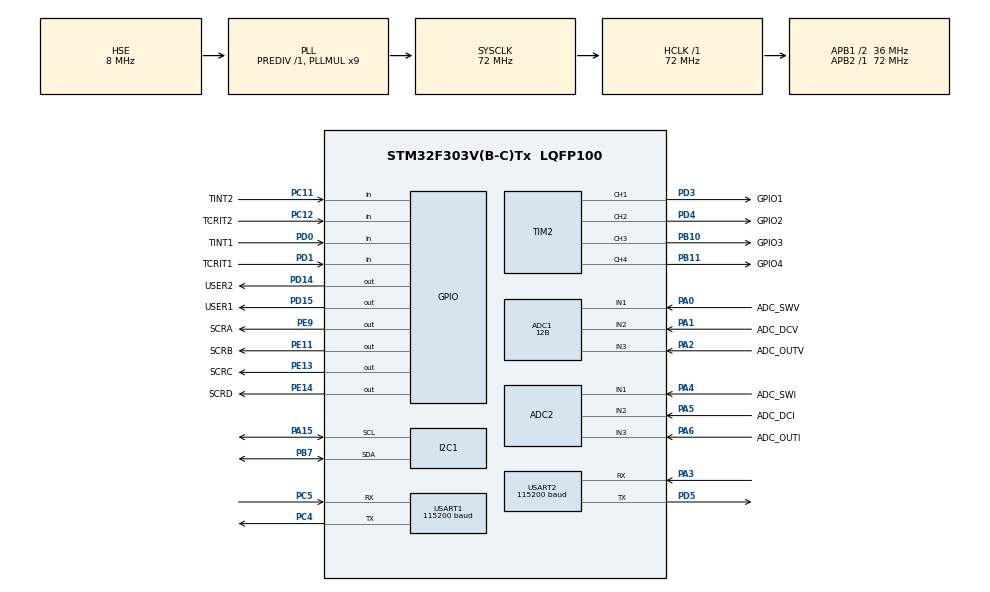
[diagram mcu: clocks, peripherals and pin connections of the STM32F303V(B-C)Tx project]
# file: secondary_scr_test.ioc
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ADC1.Channel-0\#ChannelRegularConversion=ADC_CHANNEL_1
ADC1.Channel-1\#ChannelRegularConversion=ADC_CHANNEL_2
ADC1.Channel-3\#ChannelRegularConversion=ADC_CHANNEL_3
ADC1.ClockPrescaler=ADC_CLOCK_ASYNC_DIV1
ADC1.ContinuousConvMode=DISABLE
ADC1.DMAContinuousRequests=ENABLE
ADC1.DataAlign=ADC_DATAALIGN_RIGHT
ADC1.DiscontinuousConvMode=DISABLE
ADC1.EOCSelection=ADC_EOC_SINGLE_CONV
ADC1.EnableAnalogWatchDog1=false
ADC1.EnableAnalogWatchDog2=false
ADC1.EnableAnalogWatchDog3=false
ADC1.EnableInjectedConversion=ENABLE
ADC1.EnableRegularConversion=ENABLE
ADC1.ExternalTrigConv=ADC_EXTERNALTRIGCONV_T3_TRGO
ADC1.ExternalTrigConvEdge=ADC_EXTERNALTRIGCONVEDGE_RISING
ADC1.LowPowerAutoWait=DISABLE
ADC1.Mode=ADC_MODE_INDEPENDENT
ADC1.NbrOfConversion=3
ADC1.NbrOfConversionFlag=1
ADC1.Offset-0\#ChannelRegularConversion=0
ADC1.Offset-1\#ChannelRegularConversion=0
ADC1.Offset-3\#ChannelRegularConversion=0
ADC1.OffsetNumber-0\#ChannelRegularConversion=ADC_OFFSET_NONE
ADC1.OffsetNumber-1\#ChannelRegularConversion=ADC_OFFSET_NONE
ADC1.OffsetNumber-3\#ChannelRegularConversion=ADC_OFFSET_NONE
ADC1.Overrun=ADC_OVR_DATA_OVERWRITTEN
ADC1.Rank-0\#ChannelRegularConversion=1
ADC1.Rank-1\#ChannelRegularConversion=2
ADC1.Rank-3\#ChannelRegularConversion=3
ADC1.Resolution=ADC_RESOLUTION_12B
ADC1.SamplingTime-0\#ChannelRegularConversion=ADC_SAMPLETIME_1CYCLE_5
ADC1.SamplingTime-1\#ChannelRegularConversion=ADC_SAMPLETIME_1CYCLE_5
ADC1.SamplingTime-3\#ChannelRegularConversion=ADC_SAMPLETIME_1CYCLE_5
ADC1.ScanConvMode=ADC_SCAN_ENABLE
ADC1.master=1
ADC2.Channel-0\#ChannelRegularConversion=ADC_CHANNEL_1
ADC2.Channel-1\#ChannelRegularConversion=ADC_CHANNEL_2
ADC2.Channel-2\#ChannelRegularConversion=ADC_CHANNEL_3
ADC2.DMAContinuousRequests=ENABLE
ADC2.EOCSelection=ADC_EOC_SINGLE_CONV
ADC2.EnableInjectedConversion=ENABLE
ADC2.ExternalTrigConv=ADC_EXTERNALTRIGCONV_T3_TRGO
ADC2.NbrOfConversion=3
ADC2.NbrOfConversionFlag=1
ADC2.Offset-0\#ChannelRegularConversion=0
ADC2.Offset-1\#ChannelRegularConversion=0
ADC2.Offset-2\#ChannelRegularConversion=0
ADC2.OffsetNumber-0\#ChannelRegularConversion=ADC_OFFSET_NONE
ADC2.OffsetNumber-1\#ChannelRegularConversion=ADC_OFFSET_NONE
ADC2.OffsetNumber-2\#ChannelRegularConversion=ADC_OFFSET_NONE
ADC2.Rank-0\#ChannelRegularConversion=1
ADC2.Rank-1\#ChannelRegularConversion=2
ADC2.Rank-2\#ChannelRegularConversion=3
ADC2.SamplingTime-0\#ChannelRegularConversion=ADC_SAMPLETIME_1CYCLE_5
ADC2.SamplingTime-1\#ChannelRegularConversion=ADC_SAMPLETIME_1CYCLE_5
ADC2.SamplingTime-2\#ChannelRegularConversion=ADC_SAMPLETIME_1CYCLE_5
Dma.ADC1.5.Direction=DMA_PERIPH_TO_MEMORY
Dma.ADC1.5.Instance=DMA1_Channel1
Dma.ADC1.5.MemDataAlignment=DMA_MDATAALIGN_WORD
Dma.ADC1.5.MemInc=DMA_MINC_ENABLE
Dma.ADC1.5.Mode=DMA_CIRCULAR
Dma.ADC1.5.PeriphDataAlignment=DMA_PDATAALIGN_WORD
Dma.ADC1.5.PeriphInc=DMA_PINC_DISABLE
Dma.ADC1.5.Priority=DMA_PRIORITY_HIGH
Dma.ADC2.0.Direction=DMA_PERIPH_TO_MEMORY
Dma.ADC2.0.Instance=DMA2_Channel1
Dma.ADC2.0.MemDataAlignment=DMA_MDATAALIGN_WORD
Dma.ADC2.0.MemInc=DMA_MINC_ENABLE
Dma.ADC2.0.Mode=DMA_CIRCULAR
Dma.ADC2.0.PeriphDataAlignment=DMA_PDATAALIGN_WORD
Dma.ADC2.0.PeriphInc=DMA_PINC_DISABLE
Dma.ADC2.0.Priority=DMA_PRIORITY_HIGH
Dma.Request0=ADC2
Dma.Request1=USART1_TX
Dma.Request2=USART1_RX
Dma.Request3=USART2_RX
Dma.Request4=USART2_TX
Dma.Request5=ADC1
Dma.USART1_RX.2.Direction=DMA_PERIPH_TO_MEMORY
Dma.USART1_RX.2.Instance=DMA1_Channel5
Dma.USART1_RX.2.MemDataAlignment=DMA_MDATAALIGN_BYTE
Dma.USART1_RX.2.MemInc=DMA_MINC_ENABLE
Dma.USART1_RX.2.Mode=DMA_CIRCULAR
Dma.USART1_RX.2.PeriphDataAlignment=DMA_PDATAALIGN_BYTE
Dma.USART1_RX.2.PeriphInc=DMA_PINC_DISABLE
Dma.USART1_RX.2.Priority=DMA_PRIORITY_LOW
Dma.USART1_TX.1.Direction=DMA_MEMORY_TO_PERIPH
Dma.USART1_TX.1.Instance=DMA1_Channel4
Dma.USART1_TX.1.MemDataAlignment=DMA_MDATAALIGN_BYTE
Dma.USART1_TX.1.MemInc=DMA_MINC_ENABLE
Dma.USART1_TX.1.Mode=DMA_NORMAL
Dma.USART1_TX.1.PeriphDataAlignment=DMA_PDATAALIGN_BYTE
Dma.USART1_TX.1.PeriphInc=DMA_PINC_DISABLE
Dma.USART1_TX.1.Priority=DMA_PRIORITY_LOW
Dma.USART2_RX.3.Direction=DMA_PERIPH_TO_MEMORY
Dma.USART2_RX.3.Instance=DMA1_Channel6
Dma.USART2_RX.3.MemDataAlignment=DMA_MDATAALIGN_BYTE
Dma.USART2_RX.3.MemInc=DMA_MINC_ENABLE
Dma.USART2_RX.3.Mode=DMA_CIRCULAR
Dma.USART2_RX.3.PeriphDataAlignment=DMA_PDATAALIGN_BYTE
Dma.USART2_RX.3.PeriphInc=DMA_PINC_DISABLE
Dma.USART2_RX.3.Priority=DMA_PRIORITY_LOW
Dma.USART2_TX.4.Direction=DMA_MEMORY_TO_PERIPH
Dma.USART2_TX.4.Instance=DMA1_Channel7
Dma.USART2_TX.4.MemDataAlignment=DMA_MDATAALIGN_BYTE
Dma.USART2_TX.4.MemInc=DMA_MINC_ENABLE
Dma.USART2_TX.4.Mode=DMA_NORMAL
Dma.USART2_TX.4.PeriphDataAlignment=DMA_PDATAALIGN_BYTE
Dma.USART2_TX.4.PeriphInc=DMA_PINC_DISABLE
Dma.USART2_TX.4.Priority=DMA_PRIORITY_LOW
I2C1.Timeout=0x00008061
I2C1.Timing=0x2000090E
Mcu.Family=STM32F3
Mcu.Name=STM32F303V(B-C)Tx
Mcu.Package=LQFP100
NVIC.DMA1_Channel1_IRQn=true\:0\:0\:false\:false\:true\:true
NVIC.DMA1_Channel4_IRQn=true\:0\:0\:false\:false\:true\:true
NVIC.DMA1_Channel5_IRQn=true\:0\:0\:false\:false\:true\:true
NVIC.DMA1_Channel6_IRQn=true\:0\:0\:false\:false\:true\:true
NVIC.DMA1_Channel7_IRQn=true\:0\:0\:false\:false\:true\:true
NVIC.DMA2_Channel1_IRQn=true\:0\:0\:false\:false\:true\:true
NVIC.PriorityGroup=NVIC_PRIORITYGROUP_4
NVIC.USART2_IRQn=true\:0\:0\:false\:false\:true\:true
PA0.GPIO_Label=ADC_SWV
PA0.Mode=IN1-Single-Ended
PA0.Signal=ADC1_IN1
PA1.GPIO_Label=ADC_DCV
PA1.Mode=IN2-Single-Ended
PA1.Signal=ADC1_IN2
PA13.Mode=Serial_Wire
PA13.Signal=SYS_JTMS-SWDIO
PA14.Mode=Serial_Wire
PA14.Signal=SYS_JTCK-SWCLK
PA15.Mode=SMBus-two-wire-Interface
PA15.Signal=I2C1_SCL
PA2.GPIO_Label=ADC_OUTV
PA2.Mode=IN3-Single-Ended
PA2.Signal=ADC1_IN3
PA3.Mode=Asynchronous
PA3.Signal=USART2_RX
PA4.GPIO_Label=ADC_SWI
PA4.Mode=IN1-Single-Ended
PA4.Signal=ADC2_IN1
PA5.GPIO_Label=ADC_DCI
PA5.Mode=IN2-Single-Ended
PA5.Signal=ADC2_IN2
PA6.GPIO_Label=ADC_OUTI
PA6.Mode=IN3-Single-Ended
PA6.Signal=ADC2_IN3
PB10.GPIO_Label=GPIO3
PB10.Signal=S_TIM2_CH3
PB11.GPIO_Label=GPIO4
PB11.Signal=S_TIM2_CH4
PB7.Mode=SMBus-two-wire-Interface
PB7.Signal=I2C1_SDA
PC11.GPIO_Label=TINT2
PC11.Signal=GPIO_Input
PC12.GPIO_Label=TCRIT2
PC12.Signal=GPIO_Input
PC4.Mode=Asynchronous
PC4.Signal=USART1_TX
PC5.Mode=Asynchronous
PC5.Signal=USART1_RX
PD0.GPIO_Label=TINT1
PD0.Signal=GPIO_Input
PD1.GPIO_Label=TCRIT1
PD1.Signal=GPIO_Input
PD14.GPIO_Label=USER2
PD14.Signal=GPIO_Output
PD15.GPIO_Label=USER1
PD15.Signal=GPIO_Output
PD3.GPIO_Label=GPIO1
PD3.Signal=S_TIM2_CH1_ETR
PD4.GPIO_Label=GPIO2
PD4.Signal=S_TIM2_CH2
PD5.Mode=Asynchronous
PD5.Signal=USART2_TX
PE11.GPIO_Label=SCRB
PE11.Signal=GPIO_Output
PE13.GPIO_Label=SCRC
PE13.Signal=GPIO_Output
PE14.GPIO_Label=SCRD
PE14.Signal=GPIO_Output
PE9.GPIO_Label=SCRA
PE9.Signal=GPIO_Output
PF0-OSC_IN.Mode=HSE-External-Oscillator
PF0-OSC_IN.Signal=RCC_OSC_IN
PF1-OSC_OUT.Mode=HSE-External-Oscillator
PF1-OSC_OUT.Signal=RCC_OSC_OUT
ProjectManager.HeapSize=0x200
ProjectManager.StackSize=0x400
ProjectManager.TargetToolchain=EWARM
RCC.AHBFreq_Value=72000000
RCC.APB1CLKDivider=RCC_HCLK_DIV2
RCC.APB1Freq_Value=36000000
RCC.APB1TimFreq_Value=72000000
RCC.APB2Freq_Value=72000000
RCC.APB2TimFreq_Value=72000000
RCC.CortexFreq_Value=72000000
RCC.HCLKFreq_Value=72000000
RCC.HSE_VALUE=8000000
RCC.HSI_VALUE=8000000
RCC.LSE_VALUE=32768
RCC.PLLMUL=RCC_PLL_MUL9
RCC.PLLSourceVirtual=RCC_PLLSOURCE_HSE
RCC.SYSCLKFreq_VALUE=72000000
RCC.SYSCLKSourceVirtual=RCC_SYSCLKSOURCE_PLLCLK
RCC.USBFreq_Value=72000000
SH.S_TIM2_CH1_ETR.0=TIM2_CH1,PWM Generation1 CH1
SH.S_TIM2_CH2.0=TIM2_CH2,PWM Generation2 CH2
SH.S_TIM2_CH3.0=TIM2_CH3,PWM Generation3 CH3
SH.S_TIM2_CH4.0=TIM2_CH4,PWM Generation4 CH4
TIM2.Channel-PWM\ Generation1\ CH1=TIM_CHANNEL_1
TIM2.Channel-PWM\ Generation2\ CH2=TIM_CHANNEL_2
TIM2.Channel-PWM\ Generation3\ CH3=TIM_CHANNEL_3
TIM2.Channel-PWM\ Generation4\ CH4=TIM_CHANNEL_4
TIM3.Period=7199
TIM3.TIM_MasterOutputTrigger=TIM_TRGO_UPDATE
USART1.BaudRate=115200
USART1.VirtualMode-Asynchronous=VM_ASYNC
USART2.BaudRate=115200
USART2.VirtualMode-Asynchronous=VM_ASYNC
VP_TIM3_VS_ClockSourceINT.Mode=Internal
board=secondary_scr_test

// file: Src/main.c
/**
  ******************************************************************************
  * File Name          : main.c
  * Description        : Main program body
  ******************************************************************************
  *
  * COPYRIGHT(c) 2017 STMicroelectronics
  *
  * Redistribution and use in source and binary forms, with or without modification,
  * are permitted provided that the following conditions are met:
  *   1. Redistributions of source code must retain the above copyright notice,
  *      this list of conditions and the following disclaimer.
  *   2. Redistributions in binary form must reproduce the above copyright notice,
  *      this list of conditions and the following disclaimer in the documentation
  *      and/or other materials provided with the distribution.
  *   3. Neither the name of STMicroelectronics nor the names of its contributors
  *      may be used to endorse or promote products derived from this software
  *      without specific prior written permission.
  *
  * THIS SOFTWARE IS PROVIDED BY THE COPYRIGHT HOLDERS AND CONTRIBUTORS "AS IS"
  * AND ANY EXPRESS OR IMPLIED WARRANTIES, INCLUDING, BUT NOT LIMITED TO, THE
  * IMPLIED WARRANTIES OF MERCHANTABILITY AND FITNESS FOR A PARTICULAR PURPOSE ARE
  * DISCLAIMED. IN NO EVENT SHALL THE COPYRIGHT HOLDER OR CONTRIBUTORS BE LIABLE
  * FOR ANY DIRECT, INDIRECT, INCIDENTAL, SPECIAL, EXEMPLARY, OR CONSEQUENTIAL
  * DAMAGES (INCLUDING, BUT NOT LIMITED TO, PROCUREMENT OF SUBSTITUTE GOODS OR
  * SERVICES; LOSS OF USE, DATA, OR PROFITS; OR BUSINESS INTERRUPTION) HOWEVER
  * CAUSED AND ON ANY THEORY OF LIABILITY, WHETHER IN CONTRACT, STRICT LIABILITY,
  * OR TORT (INCLUDING NEGLIGENCE OR OTHERWISE) ARISING IN ANY WAY OUT OF THE USE
  * OF THIS SOFTWARE, EVEN IF ADVISED OF THE POSSIBILITY OF SUCH DAMAGE.
  *
  ******************************************************************************
  */
#include "main.h"
#include "stm32f3xx_hal.h"

/* USER CODE BEGIN Includes */
#include <stdbool.h>
#include <string.h>
/* USER CODE END Includes */

ADC_HandleTypeDef hadc1;
ADC_HandleTypeDef hadc2;
DMA_HandleTypeDef hdma_adc1;
DMA_HandleTypeDef hdma_adc2;

SMBUS_HandleTypeDef hsmbus1;

TIM_HandleTypeDef htim2;
TIM_HandleTypeDef htim3;

UART_HandleTypeDef huart1;
UART_HandleTypeDef huart2;
DMA_HandleTypeDef hdma_usart1_tx;
DMA_HandleTypeDef hdma_usart1_rx;
DMA_HandleTypeDef hdma_usart2_rx;
DMA_HandleTypeDef hdma_usart2_tx;

/* USER CODE BEGIN PV */
/* Private variables ---------------------------------------------------------*/
// Debug UART variables
__IO char debug_rx_buffer[DEBUG_RX_BUF_SIZE];
__IO char debug_tx_buffer[DEBUG_TX_BUF_SIZE];
__IO uint16_t debug_tx_to_send = 0;
__IO char *debug_tx_buf_start;

__IO char msg_buffer[DEBUG_MAX_MSG_SIZE];

__IO char *start_ptr;
__IO char *end_ptr;
__IO char *curr_rx_ptr;

// ADC buffers
__IO uint32_t adc1_buffer[3];
__IO uint32_t adc2_buffer[3];

// ADC aliases
__IO uint32_t *adc_swv = &adc1_buffer[0];
__IO uint32_t *adc_dcv = &adc1_buffer[1];
__IO uint32_t *adc_outv = &adc1_buffer[2];

__IO uint32_t *adc_swi = &adc2_buffer[0];
__IO uint32_t *adc_dci = &adc2_buffer[1];
__IO uint32_t *adc_outi = &adc2_buffer[2];

/* USER CODE END PV */

void SystemClock_Config(void);
void Error_Handler(void);
static void MX_GPIO_Init(void);
static void MX_DMA_Init(void);
static void MX_ADC1_Init(void);
static void MX_ADC2_Init(void);
static void MX_I2C1_SMBUS_Init(void);
static void MX_TIM2_Init(void);
static void MX_USART1_UART_Init(void);
static void MX_USART2_UART_Init(void);
static void MX_TIM3_Init(void);

void HAL_TIM_MspPostInit(TIM_HandleTypeDef *htim);

/* USER CODE BEGIN PFP */
/* Private function prototypes -----------------------------------------------*/

/* USER CODE END PFP */

/* USER CODE BEGIN 0 */
// set USER1 LED
void set_user1_led(bool state) {
  if (state)
    HAL_GPIO_WritePin(USER1_GPIO_Port, USER1_Pin, GPIO_PIN_SET);
  else
    HAL_GPIO_WritePin(USER1_GPIO_Port, USER1_Pin, GPIO_PIN_RESET);
}

// set USER2 LED
void set_user2_led(bool state) {
  if (state)
    HAL_GPIO_WritePin(USER2_GPIO_Port, USER2_Pin, GPIO_PIN_SET);
  else
    HAL_GPIO_WritePin(USER2_GPIO_Port, USER2_Pin, GPIO_PIN_RESET);
}

// pulse left leg of unfolding bridge (SCR 1 and SCR4)
void pulse_left_leg() {
  HAL_GPIO_WritePin(SCRA_GPIO_Port, SCRA_Pin, GPIO_PIN_SET);
  HAL_GPIO_WritePin(SCRD_GPIO_Port, SCRD_Pin, GPIO_PIN_SET);
  HAL_Delay(1);
  HAL_GPIO_WritePin(SCRA_GPIO_Port, SCRA_Pin, GPIO_PIN_RESET);
  HAL_GPIO_WritePin(SCRD_GPIO_Port, SCRD_Pin, GPIO_PIN_RESET);
}

// pulse right leg of unfolding bridge (SCR 2 and SCR3)
void pulse_right_leg() {
  HAL_GPIO_WritePin(SCRB_GPIO_Port, SCRB_Pin, GPIO_PIN_SET);
  HAL_GPIO_WritePin(SCRC_GPIO_Port, SCRC_Pin, GPIO_PIN_SET);
  HAL_Delay(1);
  HAL_GPIO_WritePin(SCRB_GPIO_Port, SCRB_Pin, GPIO_PIN_RESET);
  HAL_GPIO_WritePin(SCRC_GPIO_Port, SCRC_Pin, GPIO_PIN_RESET);
}

/* --------------- Serial Interface -----------------------*/
void print_debug(char *msg) {
  // check if TX is free
  uint8_t state = HAL_UART_GetState(&huart2);
  if (state == HAL_UART_STATE_BUSY_TX || state == HAL_UART_STATE_BUSY_TX_RX) {
    // append to TX buffer
    strncat((char *)debug_tx_buffer, msg, DEBUG_TX_BUF_SIZE - strlen((char *)debug_tx_buffer));
    // update to_send length
    debug_tx_to_send = debug_tx_to_send + strlen(msg);
  } else {
    strncpy((char *)debug_tx_buffer, msg, DEBUG_TX_BUF_SIZE);
    debug_tx_to_send = 0;
    uint16_t ntransfer = strlen((char *)debug_tx_buffer);

    // start TX event
    // set to_send to 0 and update start pointer
    debug_tx_buf_start = debug_tx_buffer + ntransfer;
    HAL_UART_Transmit_DMA(&huart2, (uint8_t *)debug_tx_buffer, ntransfer);

  }
}

// method to check if there is available text
bool serial_available() {
  if (end_ptr != start_ptr)
    return 1;

  return 0;
}

// method to check if there is a command lined up
bool cmd_available() {
  // search from start of the end buffer and look for \r or \n to signal the end
  // of a message. returns 1 if there is a message. 0 otherwise
  for (char *ptr = (char *)debug_rx_buffer; ptr < debug_rx_buffer + DEBUG_RX_BUF_SIZE; ptr++) {
    if (*ptr == '\r' || *ptr == '\n') {
      return 1;
    }
  }

  // no command found
  return 0;
}

// method to read the most recent command. you must check if there is an available
// command before calling the method. if there is no command the behavior is undefined.
int get_cmd(char *parsed_msg) {
  for(int k=0; k < DEBUG_RX_BUF_SIZE; k++) {
    char *ptr = (char *)start_ptr + k;
    // check if wrapped around circular buffer
    if (k + start_ptr >= debug_rx_buffer + DEBUG_RX_BUF_SIZE) {
      ptr = k - DEBUG_RX_BUF_SIZE + (char *)start_ptr;
    }

    char temp = *ptr;

    // check if \r or \n signaling end of msg
    if (temp == '\r' || temp == '\n') {
      // set new start pointer
      if (temp == '\r') {
        // check if \r\n sent as terminating string
        char *next_ptr = ptr + 1;
        // wrap if necessary
        if (next_ptr >= debug_rx_buffer + DEBUG_RX_BUF_SIZE) {
          next_ptr = (char *)debug_rx_buffer;
        }

        // check if next_ptr is \n
        if (*next_ptr == '\n') {
          // increment start_ptr to follow next_ptr
          start_ptr = next_ptr + 1;
          // replace \n with \0
          *next_ptr = '\0';
        } else {
          start_ptr = ptr + 1;
        }
      } else {
        start_ptr = ptr + 1;
      }

      // replace ptr with \0
      *ptr = '\0';

      // make sure start pointer doesn't overflow
      if (start_ptr >= debug_rx_buffer + DEBUG_RX_BUF_SIZE)
        start_ptr = debug_rx_buffer;

      // terminate parsed command string with \0
      parsed_msg[k] = '\0';

      // return length of parsed message
      return k;
    } else {
      // save character
      parsed_msg[k] = temp;
      // replace old character with \0
      *ptr = '\0';
    }
  }

  return 0;
}

// method to echo recieved data back. this method reads through the rx buffer and
// prints any unprinted characters until it hits a \0. make sure to call this
// before parsing the command or it may miss text
void echo_text() {
  // make sure there is text to print
  if (*curr_rx_ptr == '\0')
    return;

  int len = strlen((const char *)curr_rx_ptr);
  print_debug((char *)curr_rx_ptr);
  curr_rx_ptr += len;
}

// handle end of TX transaction and see if there is still remaining data to be sent
void HAL_UART_TxCpltCallback(UART_HandleTypeDef *huart) {
  // check if Debug UART
  if (huart == &huart2) {
    // check if tx buffer is not empty
    if (debug_tx_to_send > 0) {
      // truncate string if necessary
      if (debug_tx_buf_start + debug_tx_to_send > debug_tx_buffer + DEBUG_TX_BUF_SIZE) {
        // set to_send to 0 and update start pointer
        debug_tx_buf_start = debug_tx_buffer + strlen((char *)debug_tx_buffer);
        uint16_t ntransfer = (uint16_t)(DEBUG_TX_BUF_SIZE - (debug_tx_buf_start-debug_tx_buffer));
        debug_tx_to_send = 0;
        HAL_UART_Transmit_DMA(huart, (uint8_t *)debug_tx_buf_start, ntransfer);
      } else {
        debug_tx_buf_start = debug_tx_buffer + strlen((char *)debug_tx_buffer) - debug_tx_to_send;
        uint16_t ntransfer = debug_tx_to_send;
        debug_tx_to_send = 0;
        HAL_UART_Transmit_DMA(huart, (uint8_t *)debug_tx_buf_start, ntransfer);
      }
    } else {
      // reset buffer start
      debug_tx_buf_start = debug_tx_buffer;
    }
  }
}

// handle end of recieve transaction and echo result
void HAL_UART_RxCpltCallback(UART_HandleTypeDef *huart)
{
  __HAL_UART_SEND_REQ(huart, UART_RXDATA_FLUSH_REQUEST); // Clear the buffer to prevent overrun
  // save received data in buffer
  //store_text((char *)debug_rx_buffer);
  // echo response
  /*
  char echo_char = *curr_rx_ptr;
  print_debug(&echo_char);
  curr_rx_ptr++;
  // wrap curr_rx_ptr if necessary
  if (curr_rx_ptr >= debug_rx_buffer + DEBUG_RX_BUF_SIZE)
    curr_rx_ptr = debug_rx_buffer;
  */
}

/* ------------------------ Serial Interface End ------------------*/

/* USER CODE END 0 */

int main(void)
{

  /* USER CODE BEGIN 1 */
  // initialize pointers
  start_ptr = debug_rx_buffer;
  end_ptr = debug_rx_buffer;
  curr_rx_ptr = start_ptr;
  /* USER CODE END 1 */

  /* MCU Configuration----------------------------------------------------------*/

  /* Reset of all peripherals, Initializes the Flash interface and the Systick. */
  HAL_Init();

  /* Configure the system clock */
  SystemClock_Config();

  /* Initialize all configured peripherals */
  MX_GPIO_Init();
  MX_DMA_Init();
  MX_ADC1_Init();
  MX_ADC2_Init();
  MX_I2C1_SMBUS_Init();
  MX_TIM2_Init();
  MX_USART1_UART_Init();
  MX_USART2_UART_Init();
  MX_TIM3_Init();

  /* USER CODE BEGIN 2 */
  // Set LEDs off
  set_user1_led(false);
  set_user2_led(false);

  // Print boot message
  print_debug("Secondary Board v1.0\n\r");

  // Start receiver
  HAL_UART_Receive_DMA(&huart2, (uint8_t *)debug_rx_buffer, DEBUG_RX_BUF_SIZE);

  // Start ADC2
  //if (HAL_ADC_Start(&hadc2) != HAL_OK)
  //  return 0;

  // Start ADC1
  //if( HAL_ADC_Start(&hadc1) != HAL_OK)
  //  return 0;
  // start ADC1 DMA and set buffer address
  //int status = HAL_ADCEx_MultiModeStart_DMA(&hadc1, (uint32_t*)adc1_buffer, 3);

  int status = HAL_ADC_Start_DMA(&hadc1, (uint32_t*)adc1_buffer, 3);
  if (status != HAL_OK)
    return 0;

  status = HAL_ADC_Start_DMA(&hadc2, (uint32_t*)adc2_buffer, 3);
  if (status != HAL_OK)
    return 0;

  HAL_TIM_Base_Start(&htim3);

  /* USER CODE END 2 */

  /* Infinite loop */
  /* USER CODE BEGIN WHILE */
  int monitor_count = 0;
  char monitor_buf[25];
  //pulse_right_leg();

  while (1)
  {
    // check if there is a new command waiting. if so parse it
    pulse_left_leg();

    echo_text();
    if (cmd_available()) {
      int len = get_cmd((char *)msg_buffer);
      // check command
      if (strcmp((char *)msg_buffer, "1") == 0) {
        print_debug("Turning on left leg\r\n");
        pulse_left_leg();
      } else if (strcmp((char *)msg_buffer, "2") == 0) {
        print_debug("Turning on right leg\r\n");
        pulse_right_leg();
      }
    }

    // check if we should print out periodic health information
    if (monitor_count >= MONITOR_COUNT_MAX*2) {
      sprintf(monitor_buf, "Output Voltage: %d\r\n", *adc_outv);

      print_debug(monitor_buf);
      sprintf(monitor_buf, "Output Current: %d\r\n", *adc_outi);
      print_debug(monitor_buf);

      monitor_count = 0;
    } else {
      monitor_count++;
    }

    HAL_Delay(5);
  /* USER CODE END WHILE */

  }

}

/** System Clock Configuration
*/
void SystemClock_Config(void)
{

  RCC_OscInitTypeDef RCC_OscInitStruct;
  RCC_ClkInitTypeDef RCC_ClkInitStruct;
  RCC_PeriphCLKInitTypeDef PeriphClkInit;

    /**Initializes the CPU, AHB and APB busses clocks
    */
  RCC_OscInitStruct.OscillatorType = RCC_OSCILLATORTYPE_HSI|RCC_OSCILLATORTYPE_HSE;
  RCC_OscInitStruct.HSEState = RCC_HSE_ON;
  RCC_OscInitStruct.HSEPredivValue = RCC_HSE_PREDIV_DIV1;
  RCC_OscInitStruct.HSIState = RCC_HSI_ON;
  RCC_OscInitStruct.HSICalibrationValue = 16;
  RCC_OscInitStruct.PLL.PLLState = RCC_PLL_ON;
  RCC_OscInitStruct.PLL.PLLSource = RCC_PLLSOURCE_HSE;
  RCC_OscInitStruct.PLL.PLLMUL = RCC_PLL_MUL9;
  if (HAL_RCC_OscConfig(&RCC_OscInitStruct) != HAL_OK)
  {
    Error_Handler();
  }

    /**Initializes the CPU, AHB and APB busses clocks
    */
  RCC_ClkInitStruct.ClockType = RCC_CLOCKTYPE_HCLK|RCC_CLOCKTYPE_SYSCLK
                              |RCC_CLOCKTYPE_PCLK1|RCC_CLOCKTYPE_PCLK2;
  RCC_ClkInitStruct.SYSCLKSource = RCC_SYSCLKSOURCE_PLLCLK;
  RCC_ClkInitStruct.AHBCLKDivider = RCC_SYSCLK_DIV1;
  RCC_ClkInitStruct.APB1CLKDivider = RCC_HCLK_DIV2;
  RCC_ClkInitStruct.APB2CLKDivider = RCC_HCLK_DIV1;

  if (HAL_RCC_ClockConfig(&RCC_ClkInitStruct, FLASH_LATENCY_2) != HAL_OK)
  {
    Error_Handler();
  }

  PeriphClkInit.PeriphClockSelection = RCC_PERIPHCLK_USART1|RCC_PERIPHCLK_USART2
                              |RCC_PERIPHCLK_I2C1|RCC_PERIPHCLK_ADC12;
  PeriphClkInit.Usart1ClockSelection = RCC_USART1CLKSOURCE_PCLK2;
  PeriphClkInit.Usart2ClockSelection = RCC_USART2CLKSOURCE_PCLK1;
  PeriphClkInit.Adc12ClockSelection = RCC_ADC12PLLCLK_DIV1;
  PeriphClkInit.I2c1ClockSelection = RCC_I2C1CLKSOURCE_HSI;
  if (HAL_RCCEx_PeriphCLKConfig(&PeriphClkInit) != HAL_OK)
  {
    Error_Handler();
  }

    /**Configure the Systick interrupt time
    */
  HAL_SYSTICK_Config(HAL_RCC_GetHCLKFreq()/1000);

    /**Configure the Systick
    */
  HAL_SYSTICK_CLKSourceConfig(SYSTICK_CLKSOURCE_HCLK);

  /* SysTick_IRQn interrupt configuration */
  HAL_NVIC_SetPriority(SysTick_IRQn, 0, 0);
}

/* ADC1 init function */
static void MX_ADC1_Init(void)
{

  ADC_MultiModeTypeDef multimode;
  ADC_ChannelConfTypeDef sConfig;

    /**Common config
    */
  hadc1.Instance = ADC1;
  hadc1.Init.ClockPrescaler = ADC_CLOCK_ASYNC_DIV1;
  hadc1.Init.Resolution = ADC_RESOLUTION_12B;
  hadc1.Init.ScanConvMode = ADC_SCAN_ENABLE;
  hadc1.Init.ContinuousConvMode = DISABLE;
  hadc1.Init.DiscontinuousConvMode = DISABLE;
  hadc1.Init.ExternalTrigConvEdge = ADC_EXTERNALTRIGCONVEDGE_RISING;
  hadc1.Init.ExternalTrigConv = ADC_EXTERNALTRIGCONV_T3_TRGO;
  hadc1.Init.DataAlign = ADC_DATAALIGN_RIGHT;
  hadc1.Init.NbrOfConversion = 3;
  hadc1.Init.DMAContinuousRequests = ENABLE;
  hadc1.Init.EOCSelection = ADC_EOC_SINGLE_CONV;
  hadc1.Init.LowPowerAutoWait = DISABLE;
  hadc1.Init.Overrun = ADC_OVR_DATA_OVERWRITTEN;
  if (HAL_ADC_Init(&hadc1) != HAL_OK)
  {
    Error_Handler();
  }

    /**Configure the ADC multi-mode
    */
  multimode.Mode = ADC_MODE_INDEPENDENT;
  if (HAL_ADCEx_MultiModeConfigChannel(&hadc1, &multimode) != HAL_OK)
  {
    Error_Handler();
  }

    /**Configure Regular Channel
    */
  sConfig.Channel = ADC_CHANNEL_1;
  sConfig.Rank = 1;
  sConfig.SingleDiff = ADC_SINGLE_ENDED;
  sConfig.SamplingTime = ADC_SAMPLETIME_1CYCLE_5;
  sConfig.OffsetNumber = ADC_OFFSET_NONE;
  sConfig.Offset = 0;
  if (HAL_ADC_ConfigChannel(&hadc1, &sConfig) != HAL_OK)
  {
    Error_Handler();
  }

    /**Configure Regular Channel
    */
  sConfig.Channel = ADC_CHANNEL_2;
  sConfig.Rank = 2;
  if (HAL_ADC_ConfigChannel(&hadc1, &sConfig) != HAL_OK)
  {
    Error_Handler();
  }

    /**Configure Regular Channel
    */
  sConfig.Channel = ADC_CHANNEL_3;
  sConfig.Rank = 3;
  if (HAL_ADC_ConfigChannel(&hadc1, &sConfig) != HAL_OK)
  {
    Error_Handler();
  }

}

/* ADC2 init function */
static void MX_ADC2_Init(void)
{

  ADC_ChannelConfTypeDef sConfig;

    /**Common config
    */
  hadc2.Instance = ADC2;
  hadc2.Init.ClockPrescaler = ADC_CLOCK_ASYNC_DIV1;
  hadc2.Init.Resolution = ADC_RESOLUTION_12B;
  hadc2.Init.ScanConvMode = ADC_SCAN_ENABLE;
  hadc2.Init.ContinuousConvMode = DISABLE;
  hadc2.Init.DiscontinuousConvMode = DISABLE;
  hadc2.Init.ExternalTrigConvEdge = ADC_EXTERNALTRIGCONVEDGE_RISING;
  hadc2.Init.ExternalTrigConv = ADC_EXTERNALTRIGCONV_T3_TRGO;
  hadc2.Init.DataAlign = ADC_DATAALIGN_RIGHT;
  hadc2.Init.NbrOfConversion = 3;
  hadc2.Init.DMAContinuousRequests = ENABLE;
  hadc2.Init.EOCSelection = ADC_EOC_SINGLE_CONV;
  hadc2.Init.LowPowerAutoWait = DISABLE;
  hadc2.Init.Overrun = ADC_OVR_DATA_OVERWRITTEN;
  if (HAL_ADC_Init(&hadc2) != HAL_OK)
  {
    Error_Handler();
  }

    /**Configure Regular Channel
    */
  sConfig.Channel = ADC_CHANNEL_1;
  sConfig.Rank = 1;
  sConfig.SingleDiff = ADC_SINGLE_ENDED;
  sConfig.SamplingTime = ADC_SAMPLETIME_1CYCLE_5;
  sConfig.OffsetNumber = ADC_OFFSET_NONE;
  sConfig.Offset = 0;
  if (HAL_ADC_ConfigChannel(&hadc2, &sConfig) != HAL_OK)
  {
    Error_Handler();
  }

    /**Configure Regular Channel
    */
  sConfig.Channel = ADC_CHANNEL_2;
  sConfig.Rank = 2;
  if (HAL_ADC_ConfigChannel(&hadc2, &sConfig) != HAL_OK)
  {
    Error_Handler();
  }

    /**Configure Regular Channel
    */
  sConfig.Channel = ADC_CHANNEL_3;
  sConfig.Rank = 3;
  if (HAL_ADC_ConfigChannel(&hadc2, &sConfig) != HAL_OK)
  {
    Error_Handler();
  }

}

/* I2C1 init function */
static void MX_I2C1_SMBUS_Init(void)
{

  hsmbus1.Instance = I2C1;
  hsmbus1.Init.Timing = 0x2000090E;
  hsmbus1.Init.AnalogFilter = SMBUS_ANALOGFILTER_ENABLE;
  hsmbus1.Init.OwnAddress1 = 2;
  hsmbus1.Init.AddressingMode = SMBUS_ADDRESSINGMODE_7BIT;
  hsmbus1.Init.DualAddressMode = SMBUS_DUALADDRESS_DISABLE;
  hsmbus1.Init.OwnAddress2 = 0;
  hsmbus1.Init.OwnAddress2Masks = SMBUS_OA2_NOMASK;
  hsmbus1.Init.GeneralCallMode = SMBUS_GENERALCALL_DISABLE;
  hsmbus1.Init.NoStretchMode = SMBUS_NOSTRETCH_DISABLE;
  hsmbus1.Init.PacketErrorCheckMode = SMBUS_PEC_DISABLE;
  hsmbus1.Init.PeripheralMode = SMBUS_PERIPHERAL_MODE_SMBUS_SLAVE;
  hsmbus1.Init.SMBusTimeout = 0x00008061;
  if (HAL_SMBUS_Init(&hsmbus1) != HAL_OK)
  {
    Error_Handler();
  }

}

/* TIM2 init function */
static void MX_TIM2_Init(void)
{

  TIM_MasterConfigTypeDef sMasterConfig;
  TIM_OC_InitTypeDef sConfigOC;

  htim2.Instance = TIM2;
  htim2.Init.Prescaler = 0;
  htim2.Init.CounterMode = TIM_COUNTERMODE_UP;
  htim2.Init.Period = 0;
  htim2.Init.ClockDivision = TIM_CLOCKDIVISION_DIV1;
  htim2.Init.AutoReloadPreload = TIM_AUTORELOAD_PRELOAD_DISABLE;
  if (HAL_TIM_PWM_Init(&htim2) != HAL_OK)
  {
    Error_Handler();
  }

  sMasterConfig.MasterOutputTrigger = TIM_TRGO_RESET;
  sMasterConfig.MasterSlaveMode = TIM_MASTERSLAVEMODE_DISABLE;
  if (HAL_TIMEx_MasterConfigSynchronization(&htim2, &sMasterConfig) != HAL_OK)
  {
    Error_Handler();
  }

  sConfigOC.OCMode = TIM_OCMODE_PWM1;
  sConfigOC.Pulse = 0;
  sConfigOC.OCPolarity = TIM_OCPOLARITY_HIGH;
  sConfigOC.OCFastMode = TIM_OCFAST_DISABLE;
  if (HAL_TIM_PWM_ConfigChannel(&htim2, &sConfigOC, TIM_CHANNEL_1) != HAL_OK)
  {
    Error_Handler();
  }

  if (HAL_TIM_PWM_ConfigChannel(&htim2, &sConfigOC, TIM_CHANNEL_2) != HAL_OK)
  {
    Error_Handler();
  }

  if (HAL_TIM_PWM_ConfigChannel(&htim2, &sConfigOC, TIM_CHANNEL_3) != HAL_OK)
  {
    Error_Handler();
  }

  if (HAL_TIM_PWM_ConfigChannel(&htim2, &sConfigOC, TIM_CHANNEL_4) != HAL_OK)
  {
    Error_Handler();
  }

  HAL_TIM_MspPostInit(&htim2);

}

/* TIM3 init function */
static void MX_TIM3_Init(void)
{

  TIM_ClockConfigTypeDef sClockSourceConfig;
  TIM_MasterConfigTypeDef sMasterConfig;

  htim3.Instance = TIM3;
  htim3.Init.Prescaler = 0;
  htim3.Init.CounterMode = TIM_COUNTERMODE_UP;
  htim3.Init.Period = 7199;
  htim3.Init.ClockDivision = TIM_CLOCKDIVISION_DIV1;
  htim3.Init.AutoReloadPreload = TIM_AUTORELOAD_PRELOAD_DISABLE;
  if (HAL_TIM_Base_Init(&htim3) != HAL_OK)
  {
    Error_Handler();
  }

  sClockSourceConfig.ClockSource = TIM_CLOCKSOURCE_INTERNAL;
  if (HAL_TIM_ConfigClockSource(&htim3, &sClockSourceConfig) != HAL_OK)
  {
    Error_Handler();
  }

  sMasterConfig.MasterOutputTrigger = TIM_TRGO_UPDATE;
  sMasterConfig.MasterSlaveMode = TIM_MASTERSLAVEMODE_DISABLE;
  if (HAL_TIMEx_MasterConfigSynchronization(&htim3, &sMasterConfig) != HAL_OK)
  {
    Error_Handler();
  }

}

/* USART1 init function */
static void MX_USART1_UART_Init(void)
{

  huart1.Instance = USART1;
  huart1.Init.BaudRate = 115200;
  huart1.Init.WordLength = UART_WORDLENGTH_8B;
  huart1.Init.StopBits = UART_STOPBITS_1;
  huart1.Init.Parity = UART_PARITY_NONE;
  huart1.Init.Mode = UART_MODE_TX_RX;
  huart1.Init.HwFlowCtl = UART_HWCONTROL_NONE;
  huart1.Init.OverSampling = UART_OVERSAMPLING_16;
  huart1.Init.OneBitSampling = UART_ONE_BIT_SAMPLE_DISABLE;
  huart1.AdvancedInit.AdvFeatureInit = UART_ADVFEATURE_NO_INIT;
  if (HAL_UART_Init(&huart1) != HAL_OK)
  {
    Error_Handler();
  }

}

/* USART2 init function */
static void MX_USART2_UART_Init(void)
{

  huart2.Instance = USART2;
  huart2.Init.BaudRate = 115200;
  huart2.Init.WordLength = UART_WORDLENGTH_8B;
  huart2.Init.StopBits = UART_STOPBITS_1;
  huart2.Init.Parity = UART_PARITY_NONE;
  huart2.Init.Mode = UART_MODE_TX_RX;
  huart2.Init.HwFlowCtl = UART_HWCONTROL_NONE;
  huart2.Init.OverSampling = UART_OVERSAMPLING_16;
  huart2.Init.OneBitSampling = UART_ONE_BIT_SAMPLE_DISABLE;
  huart2.AdvancedInit.AdvFeatureInit = UART_ADVFEATURE_NO_INIT;
  if (HAL_UART_Init(&huart2) != HAL_OK)
  {
    Error_Handler();
  }

}

static void MX_DMA_Init(void)
{
  /* DMA controller clock enable */
  __HAL_RCC_DMA2_CLK_ENABLE();
  __HAL_RCC_DMA1_CLK_ENABLE();

  /* DMA interrupt init */
  /* DMA1_Channel1_IRQn interrupt configuration */
  HAL_NVIC_SetPriority(DMA1_Channel1_IRQn, 0, 0);
  HAL_NVIC_EnableIRQ(DMA1_Channel1_IRQn);
  /* DMA1_Channel4_IRQn interrupt configuration */
  HAL_NVIC_SetPriority(DMA1_Channel4_IRQn, 0, 0);
  HAL_NVIC_EnableIRQ(DMA1_Channel4_IRQn);
  /* DMA1_Channel5_IRQn interrupt configuration */
  HAL_NVIC_SetPriority(DMA1_Channel5_IRQn, 0, 0);
  HAL_NVIC_EnableIRQ(DMA1_Channel5_IRQn);
  /* DMA1_Channel6_IRQn interrupt configuration */
  HAL_NVIC_SetPriority(DMA1_Channel6_IRQn, 0, 0);
  HAL_NVIC_EnableIRQ(DMA1_Channel6_IRQn);
  /* DMA1_Channel7_IRQn interrupt configuration */
  HAL_NVIC_SetPriority(DMA1_Channel7_IRQn, 0, 0);
  HAL_NVIC_EnableIRQ(DMA1_Channel7_IRQn);
  /* DMA2_Channel1_IRQn interrupt configuration */
  HAL_NVIC_SetPriority(DMA2_Channel1_IRQn, 0, 0);
  HAL_NVIC_EnableIRQ(DMA2_Channel1_IRQn);

}

/** Configure pins as
        * Analog
        * Input
        * Output
        * EVENT_OUT
        * EXTI
*/
static void MX_GPIO_Init(void)
{

  GPIO_InitTypeDef GPIO_InitStruct;

  /* GPIO Ports Clock Enable */
  __HAL_RCC_GPIOF_CLK_ENABLE();
  __HAL_RCC_GPIOA_CLK_ENABLE();
  __HAL_RCC_GPIOC_CLK_ENABLE();
  __HAL_RCC_GPIOE_CLK_ENABLE();
  __HAL_RCC_GPIOB_CLK_ENABLE();
  __HAL_RCC_GPIOD_CLK_ENABLE();

  /*Configure GPIO pin Output Level */
  HAL_GPIO_WritePin(GPIOE, SCRA_Pin|SCRB_Pin|SCRC_Pin|SCRD_Pin, GPIO_PIN_RESET);

  /*Configure GPIO pin Output Level */
  HAL_GPIO_WritePin(GPIOD, USER2_Pin|USER1_Pin, GPIO_PIN_RESET);

  /*Configure GPIO pins : SCRA_Pin SCRB_Pin SCRC_Pin SCRD_Pin */
  GPIO_InitStruct.Pin = SCRA_Pin|SCRB_Pin|SCRC_Pin|SCRD_Pin;
  GPIO_InitStruct.Mode = GPIO_MODE_OUTPUT_PP;
  GPIO_InitStruct.Pull = GPIO_NOPULL;
  GPIO_InitStruct.Speed = GPIO_SPEED_FREQ_LOW;
  HAL_GPIO_Init(GPIOE, &GPIO_InitStruct);

  /*Configure GPIO pins : USER2_Pin USER1_Pin */
  GPIO_InitStruct.Pin = USER2_Pin|USER1_Pin;
  GPIO_InitStruct.Mode = GPIO_MODE_OUTPUT_PP;
  GPIO_InitStruct.Pull = GPIO_NOPULL;
  GPIO_InitStruct.Speed = GPIO_SPEED_FREQ_LOW;
  HAL_GPIO_Init(GPIOD, &GPIO_InitStruct);

  /*Configure GPIO pins : TINT2_Pin TCRIT2_Pin */
  GPIO_InitStruct.Pin = TINT2_Pin|TCRIT2_Pin;
  GPIO_InitStruct.Mode = GPIO_MODE_INPUT;
  GPIO_InitStruct.Pull = GPIO_NOPULL;
  HAL_GPIO_Init(GPIOC, &GPIO_InitStruct);

  /*Configure GPIO pins : TINT1_Pin TCRIT1_Pin */
  GPIO_InitStruct.Pin = TINT1_Pin|TCRIT1_Pin;
  GPIO_InitStruct.Mode = GPIO_MODE_INPUT;
  GPIO_InitStruct.Pull = GPIO_NOPULL;
  HAL_GPIO_Init(GPIOD, &GPIO_InitStruct);

}

void Error_Handler(void)
{
  while(1)
  {
  }
}

/************************ (C) COPYRIGHT STMicroelectronics *****END OF FILE****/
